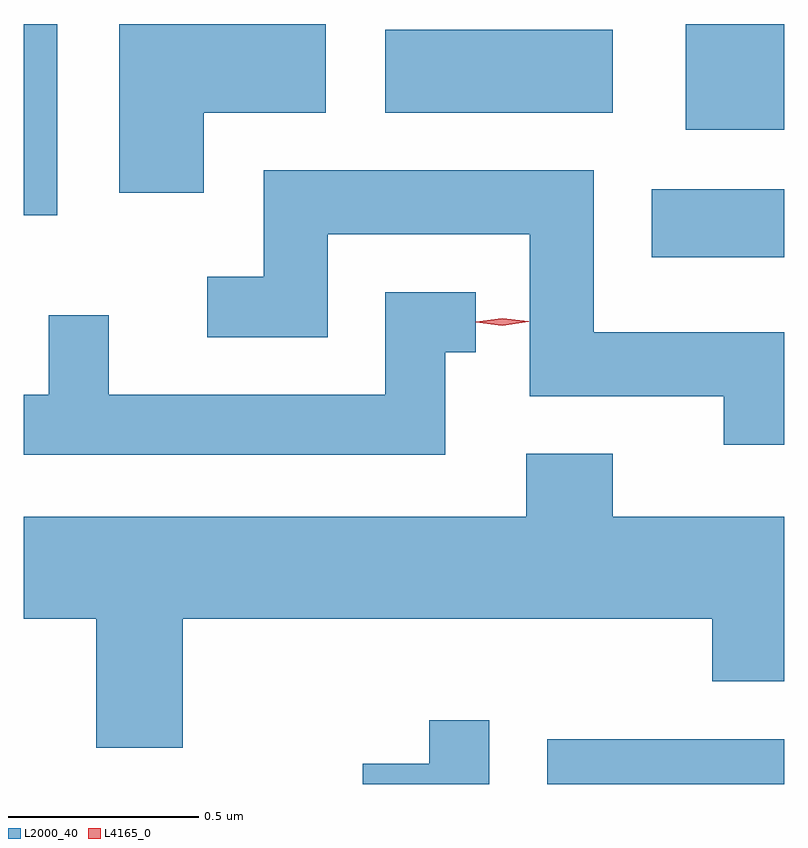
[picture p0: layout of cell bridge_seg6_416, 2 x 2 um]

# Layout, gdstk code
import gdstk
lib = gdstk.Library(unit=1e-6, precision=1e-09)
def R(c, l, rs):  # rectangles x0, y0, x1, y1
    for r in rs: c.add(gdstk.rectangle(r[:2], r[2:], *l))
def P(c, l, *ps):  # polygons
    for p in ps: c.add(gdstk.Polygon(p, *l))
L2000_40 = (2000, 40)
L4165_0 = (4165, 0)

bridge_seg6_416 = lib.new_cell('bridge_seg6_416')
R(bridge_seg6_416, L2000_40, [(905.416,1629.521,906.04,1629.639), (905.691,1630.906,906.04,1631.084), (904.04,1631.016,904.129,1631.519), (905.781,1631.241,906.04,1631.519), (904.991,1631.286,905.589,1631.504)])
P(bridge_seg6_416, L2000_40, [(904.514,1631.286),(904.834,1631.286),(904.834,1631.519),(904.291,1631.519),(904.291,1631.076),(904.514,1631.076)],
  [(906.039,1630.709),(905.539,1630.709),(905.539,1631.134),(904.671,1631.134),(904.671,1630.854),(904.523,1630.854),(904.523,1630.696),(904.839,1630.696),(904.839,1630.966),(905.371,1630.966),(905.371,1630.541),(905.881,1630.541),(905.881,1630.413),(906.039,1630.413)],
  [(905.149,1630.656),(905.228,1630.656),(905.228,1630.814),(904.991,1630.814),(904.991,1630.544),(904.264,1630.544),(904.264,1630.753),(904.106,1630.753),(904.106,1630.544),(904.04,1630.544),(904.04,1630.386),(905.149,1630.386)],
  [(904.459,1629.956),(905.851,1629.956),(905.851,1629.791),(906.04,1629.791),(906.04,1630.224),(905.589,1630.224),(905.589,1630.389),(905.361,1630.389),(905.361,1630.224),(904.04,1630.224),(904.04,1629.956),(904.231,1629.956),(904.231,1629.616),(904.459,1629.616)],
  [(905.264,1629.688),(905.106,1629.688),(905.106,1629.574),(904.931,1629.574),(904.931,1629.521),(905.264,1629.521)])
P(bridge_seg6_416, L4165_0, [(905.298,1630.726),(905.229,1630.735),(905.229,1630.735),(905.229,1630.736),(905.298,1630.746),(905.368,1630.737),(905.368,1630.736),(905.368,1630.736)])

lib.write_gds('bridge_seg6_416.gds')
